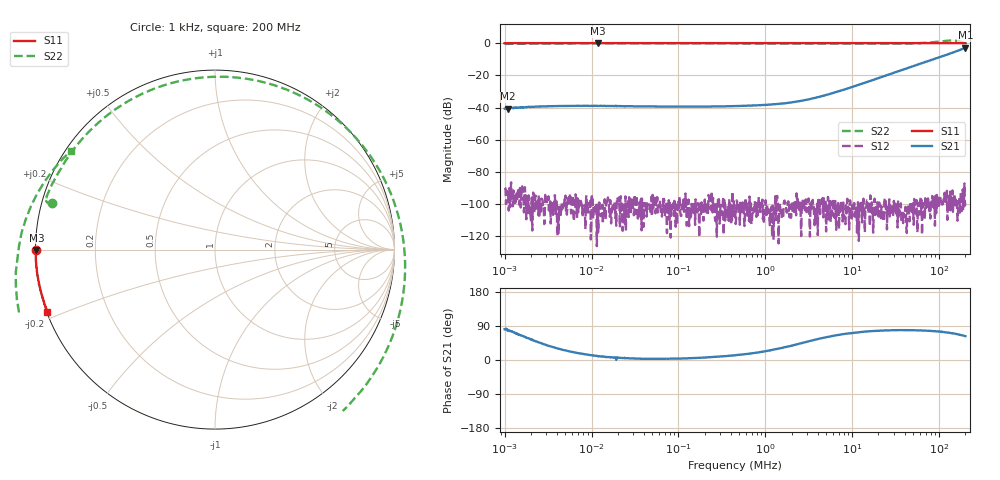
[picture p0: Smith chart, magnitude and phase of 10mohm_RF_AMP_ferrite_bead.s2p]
! ListType=Log
# MHZ S RI R 50
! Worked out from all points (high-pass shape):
!   1000 points, 1 kHz to 200 MHz, reference 50 ohm
!   highest |S21| = -2.80 dB at 200 MHz (marker M1); lowest = -40.7 dB at 1.089 kHz (marker M2)
!   |S21| within 3 dB of the highest: 144.7 MHz to end of sweep
!   lowest |S11| = 0.0 dB at 11.95 kHz (marker M3), VSWR 429.66, Z = 0.116 - j0.0517 ohm
!   |S11| at or under -10 dB: nowhere
!   |S22| runs from -0.5 to 1.7 dB; largest |S21 - S12| = 0.72
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0.001  -0.9978 -0.000814  0.0014 0.00918  -1.15e-05 -2.99e-05  -0.9089 0.26
0.0010893  -0.9982 -0.00112  0.00166 0.00906  1.98e-05 -3.7e-06  -0.9111 0.2599
0.0076941  -0.9994 -0.000389  0.0108 0.0032  -2.1e-06 8.4e-06  -0.9422 0.2759
0.011945  -0.9954 -0.00206  0.0111 0.00188  -1.2e-06 6e-07  -0.9435 0.2782
0.0584804  -0.9995 -0.000124  0.0108 0.00059  1.1e-06 -7.5e-06  -0.9406 0.2882
0.4499541  -0.9995 -0.000777  0.0109 0.00241  1.8e-06 7.1e-06  -0.9349 0.303
1.603346  -0.9994 -0.00296  0.0113 0.00727  -3.8e-06 5e-07  -0.9178 0.342
3.419952  -0.9994 -0.00624  0.0118 0.0148  -1.8e-06 -7.2e-06  -0.8867 0.4028
12.03851  -0.9992 -0.0217  0.0146 0.0494  -7.5e-06 -3e-07  -0.7122 0.6466
26.31347  -0.9985 -0.0473  0.0214 0.1039  3.6e-06 -3.5e-06  -0.3118 0.9064
38.43037  -0.9972 -0.0687  0.0291 0.1482  1.2e-06 -2.3e-06  0.0882 0.9611
50.9003  -0.9954 -0.0909  0.0388 0.1919  -1e-07 -2.3e-06  0.4925 0.8486
64.99008  -0.9927 -0.1158  0.0517 0.2396  6e-06 -3.9e-06  0.8567 0.5339
81.97236  -0.9885 -0.1458  0.0702 0.2944  5.3e-06 -7.1e-06  1.057 -0.0223
92.62555  -0.9854 -0.1644  0.0837 0.3278  -3.4e-06 -4.1e-06  1.016 -0.4025
103.3922  -0.9818 -0.1831  0.099 0.3612  -9.6e-06 -1.12e-05  0.8402 -0.7545
116.8291  -0.9769 -0.2063  0.1205 0.4009  1.25e-05 -4.9e-06  0.4616 -1.075
128.8255  -0.972 -0.2268  0.1416 0.4358  -1.25e-05 -1.01e-05  0.0311 -1.195
145.5678  -0.9639 -0.2556  0.1749 0.4856  5.8e-06 -1.22e-05  -0.5687 -1.06
164.4859  -0.955 -0.2868  0.2213 0.5399  4.6e-06 -3.3e-06  -1.028 -0.5582
179.1732  -0.9465 -0.3103  0.2596 0.583  -1.87e-05 -8.8e-06  -1.102 -0.0581
200  -0.9341 -0.3452  0.3308 0.6444  -1.29e-05 -6.6e-06  -0.8026 0.5506
